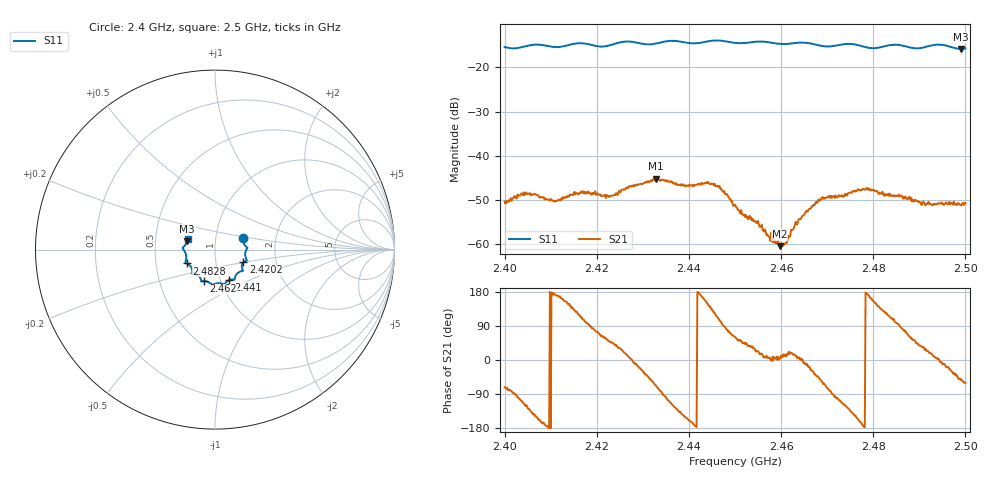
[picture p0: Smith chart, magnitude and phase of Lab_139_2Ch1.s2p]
# Hz S RI R 50
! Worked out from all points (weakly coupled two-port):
!   601 points, 2.4 GHz to 2.5 GHz, reference 50 ohm
!   highest |S21| = -45.22 dB at 2.4328 GHz (marker M1); lowest = -60.5 dB at 2.4597 GHz (marker M2)
!   lowest |S11| = -15.8 dB at 2.499 GHz (marker M3), VSWR 1.39, Z = 36.5 + j3.47 ohm
!   |S11| at or under -10 dB: start of sweep to end of sweep
!   S12 and S22 are empty: the file has one direction only
!   S11 on the Smith chart (normalised r, x): 2.4 GHz: 1.36, +0.18; 2.4202 GHz: 1.36, -0.20; 2.441 GHz: 1.10, -0.39; 2.462 GHz: 0.84, -0.30; 2.4828 GHz: 0.72, -0.11; 2.5 GHz: 0.73, +0.09
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2.4e9  0.1573 0.0629  0.000933 -0.00287  0 0  0 0
2.404167e9  0.1705 0.0186  -0.00163 -0.00349  0 0  0 0
2.411e9  0.1686 -0.0163  -0.00306 0.000433  0 0  0 0
2.416667e9  0.1778 -0.0602  -0.00159 0.00361  0 0  0 0
2.420167e9  0.1582 -0.0708  0.00108 0.00361  0 0  0 0
2.423167e9  0.1498 -0.0992  0.00245 0.00253  0 0  0 0
2.432833e9  0.1141 -0.1469  0.00215 -0.00504  0 0  0 0
2.433333e9  0.1123 -0.1511  0.00139 -0.0052  0 0  0 0
2.441e9  0.0785 -0.1695  -0.00442 -0.000831  0 0  0 0
2.446167e9  0.0505 -0.1952  -0.00178 0.00418  0 0  0 0
2.45e9  0.0285 -0.1872  0.00137 0.00242  0 0  0 0
2.459667e9  -0.0381 -0.1804  0.000945 3.9e-05  0 0  0 0
2.460833e9  -0.0495 -0.1768  0.000999 0.000186  0 0  0 0
2.462e9  -0.0604 -0.1755  0.00117 0.000415  0 0  0 0
2.466667e9  -0.078 -0.168  0.00237 -0.00124  0 0  0 0
2.468833e9  -0.0862 -0.1518  0.00182 -0.00271  0 0  0 0
2.478167e9  -0.1268 -0.1137  -0.00411 -0.000164  0 0  0 0
2.482833e9  -0.1576 -0.0774  -0.00201 0.00299  0 0  0 0
2.483333e9  -0.1606 -0.076  -0.0016 0.00312  0 0  0 0
2.490833e9  -0.1669 -0.0134  0.00249 0.00169  0 0  0 0
2.499e9  -0.1546 0.0464  0.00168 -0.00219  0 0  0 0
2.5e9  -0.1518 0.061  0.00144 -0.00252  0 0  0 0
